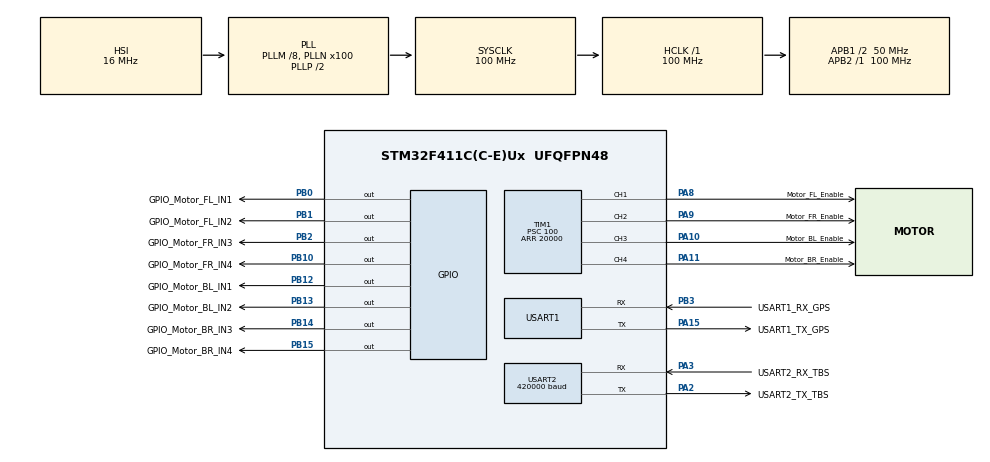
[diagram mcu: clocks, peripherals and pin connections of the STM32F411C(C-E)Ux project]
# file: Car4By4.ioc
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Dma.Request0=USART2_RX
Dma.USART2_RX.0.Direction=DMA_PERIPH_TO_MEMORY
Dma.USART2_RX.0.FIFOMode=DMA_FIFOMODE_DISABLE
Dma.USART2_RX.0.Instance=DMA1_Stream5
Dma.USART2_RX.0.MemDataAlignment=DMA_MDATAALIGN_BYTE
Dma.USART2_RX.0.MemInc=DMA_MINC_ENABLE
Dma.USART2_RX.0.Mode=DMA_CIRCULAR
Dma.USART2_RX.0.PeriphDataAlignment=DMA_PDATAALIGN_BYTE
Dma.USART2_RX.0.PeriphInc=DMA_PINC_DISABLE
Dma.USART2_RX.0.Priority=DMA_PRIORITY_LOW
Mcu.Family=STM32F4
Mcu.Name=STM32F411C(C-E)Ux
Mcu.Package=UFQFPN48
NVIC.DMA1_Stream5_IRQn=true\:0\:0\:false\:false\:true\:false\:true\:true
NVIC.PriorityGroup=NVIC_PRIORITYGROUP_4
NVIC.USART2_IRQn=true\:0\:0\:false\:false\:true\:true\:true\:true
PA10.GPIO_Label=Motor_BL_Enable
PA10.Signal=S_TIM1_CH3
PA11.GPIO_Label=Motor_BR_Enable
PA11.Signal=S_TIM1_CH4
PA13.Mode=Serial_Wire
PA13.Signal=SYS_JTMS-SWDIO
PA14.Mode=Serial_Wire
PA14.Signal=SYS_JTCK-SWCLK
PA15.GPIO_Label=USART1_TX_GPS
PA15.Mode=Asynchronous
PA15.Signal=USART1_TX
PA2.GPIO_Label=USART2_TX_TBS
PA2.Mode=Asynchronous
PA2.Signal=USART2_TX
PA3.GPIO_Label=USART2_RX_TBS
PA3.Mode=Asynchronous
PA3.Signal=USART2_RX
PA8.GPIO_Label=Motor_FL_Enable
PA8.Signal=S_TIM1_CH1
PA9.GPIO_Label=Motor_FR_Enable
PA9.Signal=S_TIM1_CH2
PB0.GPIO_Label=GPIO_Motor_FL_IN1
PB0.Signal=GPIO_Output
PB1.GPIO_Label=GPIO_Motor_FL_IN2
PB1.Signal=GPIO_Output
PB10.GPIO_Label=GPIO_Motor_FR_IN4
PB10.Signal=GPIO_Output
PB12.GPIO_Label=GPIO_Motor_BL_IN1
PB12.Signal=GPIO_Output
PB13.GPIO_Label=GPIO_Motor_BL_IN2
PB13.Signal=GPIO_Output
PB14.GPIO_Label=GPIO_Motor_BR_IN3
PB14.Signal=GPIO_Output
PB15.GPIO_Label=GPIO_Motor_BR_IN4
PB15.Signal=GPIO_Output
PB2.GPIO_Label=GPIO_Motor_FR_IN3
PB2.Signal=GPIO_Output
PB3.GPIO_Label=USART1_RX_GPS
PB3.Mode=Asynchronous
PB3.Signal=USART1_RX
PH0\ -\ OSC_IN.Mode=HSE-External-Oscillator
PH0\ -\ OSC_IN.Signal=RCC_OSC_IN
PH1\ -\ OSC_OUT.Mode=HSE-External-Oscillator
PH1\ -\ OSC_OUT.Signal=RCC_OSC_OUT
ProjectManager.HeapSize=0x200
ProjectManager.StackSize=0x400
ProjectManager.TargetToolchain=STM32CubeIDE
RCC.48MHZClocksFreq_Value=50000000
RCC.AHBFreq_Value=100000000
RCC.APB1CLKDivider=RCC_HCLK_DIV2
RCC.APB1Freq_Value=50000000
RCC.APB1TimFreq_Value=100000000
RCC.APB2Freq_Value=100000000
RCC.APB2TimFreq_Value=100000000
RCC.CortexFreq_Value=100000000
RCC.HCLKFreq_Value=100000000
RCC.HSE_VALUE=25000000
RCC.HSI_VALUE=16000000
RCC.LSE_VALUE=32768
RCC.PLLM=8
RCC.PLLN=100
RCC.SYSCLKFreq_VALUE=100000000
RCC.SYSCLKSource=RCC_SYSCLKSOURCE_PLLCLK
RCC.VCOOutputFreq_Value=200000000
SH.S_TIM1_CH1.0=TIM1_CH1,PWM Generation1 CH1
SH.S_TIM1_CH2.0=TIM1_CH2,PWM Generation2 CH2
SH.S_TIM1_CH3.0=TIM1_CH3,PWM Generation3 CH3
SH.S_TIM1_CH4.0=TIM1_CH4,PWM Generation4 CH4
TIM1.AutoReloadPreload=TIM_AUTORELOAD_PRELOAD_ENABLE
TIM1.Channel-PWM\ Generation1\ CH1=TIM_CHANNEL_1
TIM1.Channel-PWM\ Generation2\ CH2=TIM_CHANNEL_2
TIM1.Channel-PWM\ Generation3\ CH3=TIM_CHANNEL_3
TIM1.Channel-PWM\ Generation4\ CH4=TIM_CHANNEL_4
TIM1.Period=20000
TIM1.Prescaler=100
TIM1.Pulse-PWM\ Generation1\ CH1=0
TIM1.Pulse-PWM\ Generation2\ CH2=0
TIM1.Pulse-PWM\ Generation3\ CH3=0
TIM1.Pulse-PWM\ Generation4\ CH4=0
USART1.VirtualMode=VM_ASYNC
USART2.BaudRate=420000
USART2.VirtualMode=VM_ASYNC
VP_TIM1_VS_ClockSourceINT.Mode=Internal
board=custom

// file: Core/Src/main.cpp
/* USER CODE BEGIN Header */
/**
  ******************************************************************************
  * @file           : main.c
  * @brief          : Main program body
  ******************************************************************************
  * @attention
  *
  * Copyright (c) 2023 STMicroelectronics.
  * All rights reserved.
  *
  * This software is licensed under terms that can be found in the LICENSE file
  * in the root directory of this software component.
  * If no LICENSE file comes with this software, it is provided AS-IS.
  *
  ******************************************************************************
  */
/* USER CODE END Header */
#include "main.h"
#include "dma.h"
#include "tim.h"
#include "usart.h"
#include "gpio.h"

/* USER CODE BEGIN Includes */
#include <stdint.h>
#include "ControlAgent.h"

/* USER CODE END Includes */

/* USER CODE BEGIN PV */
int16_t centerThrottle = 1500;
int16_t centerRotate = 1500;
int16_t centerStrafe = 1500;
/* USER CODE END PV */

void SystemClock_Config(void);

int main(void)
{

  /* MCU Configuration--------------------------------------------------------*/

  /* Reset of all peripherals, Initializes the Flash interface and the Systick. */
  HAL_Init();

  /* Configure the system clock */
  SystemClock_Config();

  /* Initialize all configured peripherals */
  MX_GPIO_Init();
  MX_DMA_Init();
  MX_USART1_UART_Init();
  MX_USART2_UART_Init();
  MX_TIM1_Init();
  /* USER CODE BEGIN 2 */
  HAL_UART_Receive_DMA(&huart2, tbsRX, 256);
  while (pwmInputValueLast.SafetySW < 1200)
  {
	  centerThrottle = (centerThrottle + pwmInputValueLast.Throttle) / 2;
	  centerRotate = (centerRotate + pwmInputValueLast.Rotate) / 2;
	  centerStrafe = (centerStrafe + pwmInputValueLast.Strafe) / 2;
  }
  HAL_TIM_PWM_Start(&htim1, TIM_CHANNEL_1);
  HAL_TIM_PWM_Start(&htim1, TIM_CHANNEL_2);
  HAL_TIM_PWM_Start(&htim1, TIM_CHANNEL_3);
  HAL_TIM_PWM_Start(&htim1, TIM_CHANNEL_4);

  /* USER CODE END 2 */

  /* Infinite loop */
  /* USER CODE BEGIN WHILE */
  while (1)
  {
	  updatePWMToFC();
    /* USER CODE END WHILE */

  }
}

void SystemClock_Config(void)
{
  RCC_OscInitTypeDef RCC_OscInitStruct = {0};
  RCC_ClkInitTypeDef RCC_ClkInitStruct = {0};

  /** Configure the main internal regulator output voltage
  */
  __HAL_RCC_PWR_CLK_ENABLE();
  __HAL_PWR_VOLTAGESCALING_CONFIG(PWR_REGULATOR_VOLTAGE_SCALE1);

  /** Initializes the RCC Oscillators according to the specified parameters
  * in the RCC_OscInitTypeDef structure.
  */
  RCC_OscInitStruct.OscillatorType = RCC_OSCILLATORTYPE_HSI;
  RCC_OscInitStruct.HSIState = RCC_HSI_ON;
  RCC_OscInitStruct.HSICalibrationValue = RCC_HSICALIBRATION_DEFAULT;
  RCC_OscInitStruct.PLL.PLLState = RCC_PLL_ON;
  RCC_OscInitStruct.PLL.PLLSource = RCC_PLLSOURCE_HSI;
  RCC_OscInitStruct.PLL.PLLM = 8;
  RCC_OscInitStruct.PLL.PLLN = 100;
  RCC_OscInitStruct.PLL.PLLP = RCC_PLLP_DIV2;
  RCC_OscInitStruct.PLL.PLLQ = 4;
  if (HAL_RCC_OscConfig(&RCC_OscInitStruct) != HAL_OK)
  {
    Error_Handler();
  }

  /** Initializes the CPU, AHB and APB buses clocks
  */
  RCC_ClkInitStruct.ClockType = RCC_CLOCKTYPE_HCLK|RCC_CLOCKTYPE_SYSCLK
                              |RCC_CLOCKTYPE_PCLK1|RCC_CLOCKTYPE_PCLK2;
  RCC_ClkInitStruct.SYSCLKSource = RCC_SYSCLKSOURCE_PLLCLK;
  RCC_ClkInitStruct.AHBCLKDivider = RCC_SYSCLK_DIV1;
  RCC_ClkInitStruct.APB1CLKDivider = RCC_HCLK_DIV2;
  RCC_ClkInitStruct.APB2CLKDivider = RCC_HCLK_DIV1;

  if (HAL_RCC_ClockConfig(&RCC_ClkInitStruct, FLASH_LATENCY_3) != HAL_OK)
  {
    Error_Handler();
  }
}

void Error_Handler(void)
{
  __disable_irq();
  while (1)
  {
  }
}
